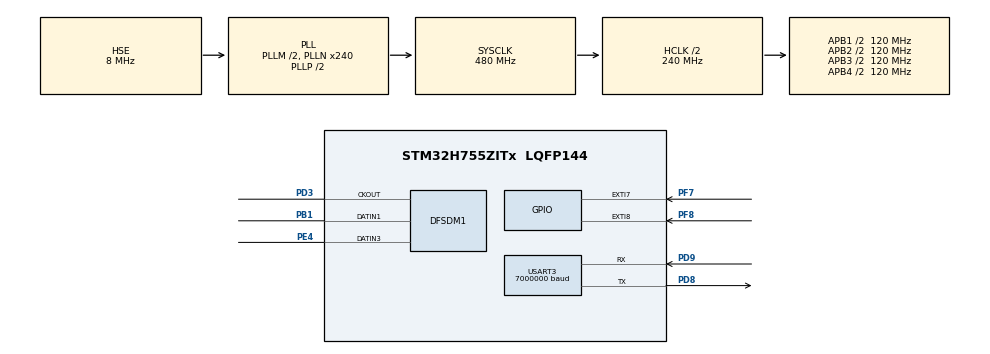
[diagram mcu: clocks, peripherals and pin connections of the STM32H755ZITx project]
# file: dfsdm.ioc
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PH0-OSC_IN\ (PH0).PinAttribute=CortexM7
Dma.DFSDM1_FLT3.4.Instance=DMA1_Stream3
RCC.PLLFRACN=0
Dma.DFSDM1_FLT1.1.Direction=DMA_PERIPH_TO_MEMORY
Dma.DFSDM1_FLT0.0.MemDataAlignment=DMA_MDATAALIGN_WORD
RCC.SYSCLKSource=RCC_SYSCLKSOURCE_PLLCLK
Dma.USART3_TX.2.Priority=DMA_PRIORITY_VERY_HIGH
Dma.DFSDM1_FLT1.1.EventEnable=DISABLE
USART3.VirtualMode-Asynchronous=VM_ASYNC
USART3.BaudRate=7000000
Dma.DFSDM1_FLT3.4.RequestNumber=1
PF7.Signal=GPXTI7
Dma.USART3_TX.2.RequestNumber=1
Dma.DFSDM1_FLT0.0.EventEnable=DISABLE
Dma.DFSDM1_FLT1.1.SyncSignalID=NONE
PD8.Signal=USART3_TX
Dma.DFSDM1_FLT2.3.SyncRequestNumber=1
Dma.USART3_TX.2.Mode=DMA_NORMAL
DFSDM1.Iosr_FIL0=2
DFSDM1.Iosr_FIL1=2
Dma.DFSDM1_FLT2.3.Direction=DMA_PERIPH_TO_MEMORY
DFSDM1.Iosr_FIL2=2
DFSDM1.Iosr_FIL3=2
Dma.DFSDM1_FLT3.4.SyncSignalID=NONE
RCC.DIVM2=5
RCC.DIVM1=2
ARM.CMSIS.5.8.0_M4.CMSISJjCORE=true
Dma.DFSDM1_FLT0.0.Instance=DMA1_Stream0
NVIC1.DMA1_Stream3_IRQn=true\:0\:0\:false\:false\:true\:false\:true
RCC.SAI1CLockSelection=RCC_SAI1CLKSOURCE_PLL2
Dma.DFSDM1_FLT0.0.SyncSignalID=NONE
PD8.PinAttribute=CortexM7
VP_SYS_M4_VS_Systick.Mode=SysTick
Dma.DFSDM1_FLT3.4.MemInc=DMA_MINC_ENABLE
Dma.DFSDM1_FLT1.1.SyncEnable=DISABLE
DFSDM1.Fosr_FIL0=64
DFSDM1.Fosr_FIL1=64
DFSDM1.Fosr_FIL2=64
DFSDM1.Fosr_FIL3=64
Dma.USART3_TX.2.SignalID=NONE
Mcu.Package=LQFP144
PB1.Signal=S_DATAIN1DFSDM1
VP_ARM.CMSIS_M4_VS_CMSISJjDSP_1.9.0-dev_5.8.0.Mode=CMSISJjDSP
Dma.USART3_TX.2.SyncEnable=DISABLE
RCC.PLL3FRACN=0
VP_ARM.CMSIS_M7_VS_CMSISJjDSP_1.9.0-dev_5.8.0.Mode=CMSISJjDSP
Dma.DFSDM1_FLT1.1.MemDataAlignment=DMA_MDATAALIGN_WORD
NVIC1.DFSDM1_FLT1_IRQn=true\:0\:0\:false\:false\:true\:true\:true
Dma.DFSDM1_FLT1.1.PeriphDataAlignment=DMA_PDATAALIGN_WORD
Dma.USART3_TX.2.SyncSignalID=NONE
Dma.DFSDM1_FLT0.0.FIFOMode=DMA_FIFOMODE_DISABLE
RCC.APB4Freq_Value=120000000
Dma.DFSDM1_FLT3.4.SyncEnable=DISABLE
PD3.GPIO_PuPd=GPIO_PULLDOWN
Dma.DFSDM1_FLT3.4.SyncRequestNumber=1
Dma.DFSDM1_FLT1.1.RequestNumber=1
PH0-OSC_IN\ (PH0).Mode=HSE-External-Clock-Source
RCC.SupplySource=PWR_DIRECT_SMPS_SUPPLY
VP_ARM.CMSIS_M7_VS_CMSISJjCORE_5.5.0_5.8.0.Mode=CMSISJjCORE
RCC.DIVQ1=4
Dma.DFSDM1_FLT3.4.EventEnable=DISABLE
Dma.DFSDM1_FLT3.4.Polarity=HAL_DMAMUX_REQ_GEN_RISING
Dma.DFSDM1_FLT0.0.SyncPolarity=HAL_DMAMUX_SYNC_NO_EVENT
PD3.Signal=S_CKOUTDFSDM1
Dma.DFSDM1_FLT0.0.Priority=DMA_PRIORITY_HIGH
RCC.DIVP2=5
Dma.DFSDM1_FLT1.1.MemInc=DMA_MINC_ENABLE
Dma.DFSDM1_FLT2.3.FIFOMode=DMA_FIFOMODE_DISABLE
Dma.DFSDM1_FLT2.3.Mode=DMA_CIRCULAR
RCC.PWR_Regulator_Voltage_Scale=PWR_REGULATOR_VOLTAGE_SCALE0
NVIC1.DFSDM1_FLT2_IRQn=true\:0\:0\:false\:false\:true\:true\:true
Dma.DFSDM1_FLT1.1.PeriphInc=DMA_PINC_DISABLE
Dma.DFSDM1_FLT0.0.SyncEnable=DISABLE
Dma.DFSDM1_FLT2.3.SyncPolarity=HAL_DMAMUX_SYNC_NO_EVENT
Dma.USART3_TX.2.PeriphInc=DMA_PINC_DISABLE
Dma.DFSDM1_FLT3.4.SyncPolarity=HAL_DMAMUX_SYNC_NO_EVENT
NVIC2.EXTI9_5_IRQn=true\:1\:0\:true\:false\:true\:true\:true
RCC.DIVN2=192
RCC.DIVN1=240
PD8.Mode=Asynchronous
Dma.USART3_TX.2.SyncRequestNumber=1
Dma.DFSDM1_FLT0.0.SignalID=NONE
Dma.DFSDM1_FLT2.3.PeriphInc=DMA_PINC_DISABLE
PB1.PinAttribute=CortexM7
Dma.DFSDM1_FLT2.3.SyncSignalID=NONE
DFSDM1.Offset_CH3=500
DFSDM1.Offset_CH2=600
NVIC1.DMA2_Stream0_IRQn=true\:0\:0\:false\:false\:true\:false\:true
Dma.DFSDM1_FLT3.4.Priority=DMA_PRIORITY_HIGH
DFSDM1.Offset_CH1=660
DFSDM1.Offset_CH0=650
Dma.DFSDM1_FLT3.4.PeriphInc=DMA_PINC_DISABLE
Dma.DFSDM1_FLT2.3.EventEnable=DISABLE
Dma.DFSDM1_FLT3.4.SignalID=NONE
PE4.GPIO_PuPd=GPIO_PULLDOWN
PF7.GPIO_PuPd=GPIO_PULLDOWN
DFSDM1.DmaMode_reg_FIL3=ENABLE
Dma.USART3_TX.2.FIFOMode=DMA_FIFOMODE_DISABLE
ProjectManager.HeapSize=0x200
PD9.PinAttribute=CortexM7
Dma.DFSDM1_FLT3.4.Mode=DMA_CIRCULAR
NVIC1.DMA1_Stream0_IRQn=true\:0\:0\:false\:false\:true\:false\:true
DFSDM1.DmaMode_reg_FIL1=ENABLE
DFSDM1.DmaMode_reg_FIL2=ENABLE
Dma.USART3_TX.2.Instance=DMA2_Stream0
DFSDM1.DmaMode_reg_FIL0=ENABLE
DFSDM1.Divider=20
Dma.DFSDM1_FLT0.0.Polarity=HAL_DMAMUX_REQ_GEN_RISING
Mcu.Family=STM32H7
Dma.USART3_TX.2.SyncPolarity=HAL_DMAMUX_SYNC_NO_EVENT
Dma.DFSDM1_FLT2.3.RequestNumber=1
RCC.CortexFreq_Value=480000000
Dma.DFSDM1_FLT2.3.MemDataAlignment=DMA_MDATAALIGN_WORD
RCC.HPRE=RCC_HCLK_DIV2
PH0-OSC_IN\ (PH0).Signal=RCC_OSC_IN
Dma.DFSDM1_FLT1.1.Mode=DMA_CIRCULAR
Dma.DFSDM1_FLT0.0.RequestNumber=1
RCC.PLL2FRACN=0
Dma.DFSDM1_FLT0.0.Mode=DMA_CIRCULAR
Dma.DFSDM1_FLT1.1.Instance=DMA1_Stream1
PD9.Mode=Asynchronous
PE4.PinAttribute=CortexM7
ProjectManager.StackSize=0x400
Dma.DFSDM1_FLT2.3.MemInc=DMA_MINC_ENABLE
Dma.USART3_TX.2.EventEnable=DISABLE
DFSDM1.Selection=DFSDM_CHANNEL_OUTPUT_CLOCK_AUDIO
Dma.DFSDM1_FLT1.1.FIFOMode=DMA_FIFOMODE_DISABLE
PB1.GPIO_PuPd=GPIO_PULLDOWN
RCC.HCLKFreq_Value=240000000
Dma.DFSDM1_FLT3.4.PeriphDataAlignment=DMA_PDATAALIGN_WORD
ARM.CMSIS.5.8.0_M7.CMSISJjDSP=Source
NVIC1.DFSDM1_FLT3_IRQn=true\:0\:0\:false\:false\:true\:true\:true
RCC.HSE_VALUE=8000000
Dma.DFSDM1_FLT0.0.Direction=DMA_PERIPH_TO_MEMORY
DFSDM1.FastMode_reg_FIL2=ENABLE
DFSDM1.FastMode_reg_FIL1=ENABLE
DFSDM1.FastMode_reg_FIL3=ENABLE
DFSDM1.FastMode_reg_FIL0=ENABLE
NVIC2.PriorityGroup=NVIC_PRIORITYGROUP_4
PF7.GPIO_ModeDefaultEXTI=GPIO_MODE_IT_RISING
PF8.GPIO_PuPd=GPIO_PULLDOWN
ARM.CMSIS.5.8.0_M4.CMSISJjDSP=Source
DFSDM1.RightBitShift_CH2=4
DFSDM1.RightBitShift_CH3=4
Dma.USART3_TX.2.Polarity=HAL_DMAMUX_REQ_GEN_RISING
CortexM7.IPs=FATFS_M7\:I,FREERTOS_M7\:I,IWDG1\:I,RCC\:I,WWDG1\:I,DMA\:I,BDMA\:I,MDMA\:I,NVIC1\:I,USB_OTG_FS\:I,SYS\:I,CORTEX_M7\:I,DEBUG\:I,USB_DEVICE_M7\:I,USB_HOST_M7\:I,PDM2PCM_M7\:I,PWR\:I,RESMGR_UTILITY\:I,OPENAMP_M7\:I,VREFBUF\:I,ARM.CMSIS.5.8.0_M7\:I,DFSDM1\:I,USART3\:I
DFSDM1.RightBitShift_CH0=4
Dma.DFSDM1_FLT2.3.Instance=DMA1_Stream2
DFSDM1.RightBitShift_CH1=4
PF7.PinAttribute=Free
PE4.Signal=S_DATAIN3DFSDM1
PF8.PinAttribute=Free
NVIC1.DMA1_Stream2_IRQn=true\:0\:0\:false\:false\:true\:false\:true
RCC.APB3Freq_Value=120000000
RCC.D1PPRE=RCC_APB3_DIV2
PD3.PinAttribute=CortexM7
PF8.Signal=GPXTI8
Dma.DFSDM1_FLT2.3.PeriphDataAlignment=DMA_PDATAALIGN_WORD
Dma.DFSDM1_FLT3.4.Direction=DMA_PERIPH_TO_MEMORY
Dma.Request2=USART3_TX
Dma.Request1=DFSDM1_FLT1
Dma.Request4=DFSDM1_FLT3
Dma.Request3=DFSDM1_FLT2
Dma.DFSDM1_FLT3.4.MemDataAlignment=DMA_MDATAALIGN_WORD
SH.S_DATAIN1DFSDM1.1=DFSDM1_DATIN1,PDM_SPI_input_from_ch1_and_internal_clock
Dma.Request0=DFSDM1_FLT0
SH.S_DATAIN1DFSDM1.0=DFSDM1_DATIN1,PDM_SPI_Input_from_ch01_and_Internal_Clock
DFSDM1.SincOrder_FIL2=DFSDM_FILTER_SINC3_ORDER
DFSDM1.SincOrder_FIL3=DFSDM_FILTER_SINC3_ORDER
DFSDM1.SincOrder_FIL0=DFSDM_FILTER_SINC3_ORDER
DFSDM1.SincOrder_FIL1=DFSDM_FILTER_SINC3_ORDER
Dma.DFSDM1_FLT0.0.SyncRequestNumber=1
RCC.PLLSourceVirtual=RCC_PLLSOURCE_HSE
Dma.DFSDM1_FLT2.3.Priority=DMA_PRIORITY_HIGH
CORTEX_M7.CPU_ICache=Enabled
Dma.DFSDM1_FLT1.1.SyncPolarity=HAL_DMAMUX_SYNC_NO_EVENT
Dma.USART3_TX.2.PeriphDataAlignment=DMA_PDATAALIGN_BYTE
Dma.DFSDM1_FLT0.0.PeriphInc=DMA_PINC_DISABLE
Dma.DFSDM1_FLT2.3.SignalID=NONE
Dma.USART3_TX.2.MemInc=DMA_MINC_ENABLE
Dma.DFSDM1_FLT0.0.MemInc=DMA_MINC_ENABLE
NVIC1.PriorityGroup=NVIC_PRIORITYGROUP_3
RCC.D2PPRE2=RCC_APB2_DIV2
RCC.D2PPRE1=RCC_APB1_DIV2
PD9.Signal=USART3_RX
NVIC1.DMA1_Stream1_IRQn=true\:0\:0\:false\:false\:true\:false\:true
Dma.DFSDM1_FLT0.0.PeriphDataAlignment=DMA_PDATAALIGN_WORD
ProjectManager.TargetToolchain=STM32CubeIDE
Dma.USART3_TX.2.Direction=DMA_MEMORY_TO_PERIPH
DFSDM1.Type_spi_CH0=DFSDM_CHANNEL_SPI_FALLING
DFSDM1.Type_spi_CH2=DFSDM_CHANNEL_SPI_RISING
DFSDM1.Type_spi_CH3=DFSDM_CHANNEL_SPI_FALLING
NVIC1.DFSDM1_FLT0_IRQn=true\:0\:0\:false\:false\:true\:true\:true
RCC.USBFreq_Value=240000000
Dma.DFSDM1_FLT1.1.Polarity=HAL_DMAMUX_REQ_GEN_RISING
Dma.DFSDM1_FLT1.1.SyncRequestNumber=1
VP_ARM.CMSIS_M4_VS_CMSISJjCORE_5.5.0_5.8.0.Mode=CMSISJjCORE
NVIC1.USART3_IRQn=true\:0\:0\:false\:false\:true\:true\:true
board=NUCLEO-H755ZI-Q
ARM.CMSIS.5.8.0_M7.CMSISJjCORE=true
Dma.USART3_TX.2.MemDataAlignment=DMA_MDATAALIGN_BYTE
Dma.DFSDM1_FLT2.3.SyncEnable=DISABLE
RCC.APB2Freq_Value=120000000
SH.S_CKOUTDFSDM1.0=DFSDM1_CKOUT,PDM_SPI_Input_from_ch01_and_Internal_Clock
SH.S_CKOUTDFSDM1.1=DFSDM1_CKOUT,PDM_SPI_input_from_ch1_and_internal_clock
Dma.DFSDM1_FLT2.3.Polarity=HAL_DMAMUX_REQ_GEN_RISING
RCC.ADCFreq_Value=61440000
SH.S_DATAIN3DFSDM1.0=DFSDM1_DATIN3,PDM_SPI_input_from_ch3_and_internal_clock
SH.S_DATAIN3DFSDM1.1=DFSDM1_DATIN3,PDM_SPI_Input_from_ch23_and_Internal_Clock
SH.S_CKOUTDFSDM1.2=DFSDM1_CKOUT,PDM_SPI_input_from_ch3_and_internal_clock
SH.S_CKOUTDFSDM1.3=DFSDM1_CKOUT,PDM_SPI_Input_from_ch23_and_Internal_Clock
Mcu.Name=STM32H755ZITx
PF8.GPIO_ModeDefaultEXTI=GPIO_MODE_IT_RISING
Dma.DFSDM1_FLT1.1.Priority=DMA_PRIORITY_HIGH
Dma.DFSDM1_FLT3.4.FIFOMode=DMA_FIFOMODE_DISABLE
RCC.SYSCLKFreq_VALUE=480000000
Dma.DFSDM1_FLT1.1.SignalID=NONE
NVIC2.CM7_SEV_IRQn=true\:0\:0\:false\:false\:true\:true\:false
DFSDM1.Filter_regChannel_FIL3=DFSDM_CHANNEL_3
DFSDM1.Filter_regChannel_FIL1=DFSDM_CHANNEL_1
DFSDM1.Filter_regChannel_FIL2=DFSDM_CHANNEL_2
RCC.D3PPRE=RCC_APB4_DIV2
CORTEX_M7.CPU_DCache=Enabled
DFSDM1.Filter_regChannel_FIL0=DFSDM_CHANNEL_0
RCC.APB1Freq_Value=120000000
CortexM4.IPs=FATFS_M4\:I,FREERTOS_M4\:I,IWDG2\:I,RCC,WWDG2\:I,DMA,BDMA,MDMA,NVIC2\:I,DEBUG,USB_DEVICE_M4\:I,USB_HOST_M4\:I,PDM2PCM_M4\:I,PWR,RESMGR_UTILITY,SYS_M4\:I,CORTEX_M4\:I,OPENAMP_M4\:I,VREFBUF,ARM.CMSIS.5.8.0_M4\:I

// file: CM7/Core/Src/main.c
/* USER CODE BEGIN Header */
/**
  ******************************************************************************
  * @file           : main.c
  * @brief          : Main program body
  ******************************************************************************
  * @attention
  *
  * <h2><center>&copy; Copyright (c) 2021 STMicroelectronics.
  * All rights reserved.</center></h2>
  *
  * This software component is licensed by ST under BSD 3-Clause license,
  * the "License"; You may not use this file except in compliance with the
  * License. You may obtain a copy of the License at:
  *                        opensource.org/licenses/BSD-3-Clause
  *
  ******************************************************************************
  */
/* USER CODE END Header */
#include "main.h"

/* USER CODE BEGIN PTD */

typedef struct{
	flag_t topLeftChannelFlag;
	flag_t topRightChannelFlag;
	flag_t bottomLeftChannelFlag;
	flag_t bottomRightChannelFlag;
}channel_flag_t;

/* USER CODE END PTD */

/* USER CODE BEGIN PD */

#ifndef HSEM_ID_0
#define HSEM_ID_0 (0U) /* HW semaphore 0*/
#endif

#define HSEM_ID_1 1U

/* USER CODE END PD */

DFSDM_Filter_HandleTypeDef hdfsdm1_filter0;
DFSDM_Filter_HandleTypeDef hdfsdm1_filter1;
DFSDM_Filter_HandleTypeDef hdfsdm1_filter2;
DFSDM_Filter_HandleTypeDef hdfsdm1_filter3;
DFSDM_Channel_HandleTypeDef hdfsdm1_channel0;
DFSDM_Channel_HandleTypeDef hdfsdm1_channel1;
DFSDM_Channel_HandleTypeDef hdfsdm1_channel2;
DFSDM_Channel_HandleTypeDef hdfsdm1_channel3;
DMA_HandleTypeDef hdma_dfsdm1_flt0;
DMA_HandleTypeDef hdma_dfsdm1_flt1;
DMA_HandleTypeDef hdma_dfsdm1_flt2;
DMA_HandleTypeDef hdma_dfsdm1_flt3;

UART_HandleTypeDef huart3;
DMA_HandleTypeDef hdma_usart3_tx;

/* USER CODE BEGIN PV */

static buffer_t * const pcmBuffer = (buffer_t *) 0x30020000;
static volatile channel_flag_t channelFlag;

//static float coeff_fir[FIR_TAPS] = {-0.000000,-0.000000,0.000111,0.000396,0.000912,0.001710,0.002831,0.004307,0.006154,0.008378,0.010968,0.013901,0.017138,0.020629,0.024313,0.028118,0.031966,0.035773,0.039456,0.042929,0.046112,0.048931,0.051319,0.053222,0.054596,0.055413,0.054596,0.053222,0.051319,0.048931,0.046112,0.042929,0.039456,0.035773,0.031966,0.028118,0.024313,0.020629,0.017138,0.013901,0.010968,0.008378,0.006154,0.004307,0.002831,0.001710,0.000912,0.000396,0.000111,-0.000000,-0.000000};
static float coeff_iir[IIR_TAPS] = {0.014764, 0.000000, -0.014764, 1.895962, -0.994284, 0.025741, 0.000000, -0.025741, 1.952879, -0.996178, 0.047707, 0.000000, -0.047707, 1.885551, -0.983015, 0.026840, 0.000000, -0.026840, 1.945317, -0.988588, 0.051229, 0.000000, -0.051229, 1.875737, -0.972066, 0.032454, 0.000000, -0.032454, 1.937704, -0.981083, 0.052886, 0.000000, -0.052886, 1.866618, -0.961552, 0.039704, 0.000000, -0.039704, 1.930058, -0.973681, 0.053823, 0.000000, -0.053823, 1.858280, -0.951580, 0.047111, 0.000000, -0.047111, 1.922398, -0.966403, 0.056357, 0.000000, -0.056357, 1.850795, -0.942245, 0.049099, 0.000000, -0.049099, 1.914744, -0.959271, 0.056850, 0.000000, -0.056850, 1.844223, -0.933633, 0.055693, 0.000000, -0.055693, 1.907120, -0.952311, 0.058761, 0.000000, -0.058761, 1.838613, -0.925818, 0.059948, 0.000000, -0.059948, 1.899552, -0.945550, 0.058982, 0.000000, -0.058982, 1.833997, -0.918860, 0.061226, 0.000000, -0.061226, 1.892072, -0.939022, 0.060501, 0.000000, -0.060501, 1.830397, -0.912808, 0.064785, 0.000000, -0.064785, 1.884714, -0.932765, 0.062169, 0.000000, -0.062169, 1.827819, -0.907699, 0.065635, 0.000000, -0.065635, 1.877520, -0.926821, 0.062438, 0.000000, -0.062438, 1.826257, -0.903553, 0.067847, 0.000000, -0.067847, 1.870536, -0.921240, 0.061495, 0.000000, -0.061495, 1.825692, -0.900381, 0.067104, 0.000000, -0.067104, 1.863816, -0.916073, 0.063508, 0.000000, -0.063508, 1.826094, -0.898178, 0.065190, 0.000000, -0.065190, 1.857417, -0.911377, 0.060436, 0.000000, -0.060436, 1.827421, -0.896927, 0.058881, 0.000000, -0.058881, 1.851405, -0.907215, 0.055711, 0.000000, -0.055711, 1.829619, -0.896602, 0.056287, 0.000000, -0.056287, 1.845847, -0.903649, 0.055548, 0.000000, -0.055548, 1.832630, -0.897162, 0.055002, 0.000000, -0.055002, 1.840816, -0.900744, 0.047617, 0.000000, -0.047617, 1.836386, -0.898561};

static dsp_buffer_iir_t dsp_iir[CHANNEL_NUMBER];

/* USER CODE END PV */

void SystemClock_Config(void);
static void MX_GPIO_Init(void);
static void MX_DMA_Init(void);
static void MX_DFSDM1_Init(void);
static void MX_USART3_UART_Init(void);

int main(void)
{
/* USER CODE BEGIN Boot_Mode_Sequence_0 */
/* USER CODE END Boot_Mode_Sequence_0 */

  /* Enable I-Cache---------------------------------------------------------*/
  SCB_EnableICache();

  /* Enable D-Cache---------------------------------------------------------*/
  SCB_EnableDCache();

/* USER CODE BEGIN Boot_Mode_Sequence_1 */
  /* Wait until CPU2 boots and enters in stop mode or timeout*/
/* USER CODE END Boot_Mode_Sequence_1 */
  /* MCU Configuration--------------------------------------------------------*/

  /* Reset of all peripherals, Initializes the Flash interface and the Systick. */
  HAL_Init();

  /* Configure the system clock */
  SystemClock_Config();
/* USER CODE BEGIN Boot_Mode_Sequence_2 */
/* When system initialization is finished, Cortex-M7 will release Cortex-M4 by means of
HSEM notification */
/*HW semaphore Clock enable*/
__HAL_RCC_HSEM_CLK_ENABLE();
/*Take HSEM */
HAL_HSEM_FastTake(HSEM_ID_0);
/*Release HSEM in order to notify the CPU2(CM4)*/
HAL_HSEM_Release(HSEM_ID_0,0);
/* wait until CPU2 wakes up from stop mode */
/* USER CODE END Boot_Mode_Sequence_2 */

  /* Initialize all configured peripherals */
  MX_GPIO_Init();
  MX_DMA_Init();
  MX_DFSDM1_Init();
  MX_USART3_UART_Init();
  /* USER CODE BEGIN 2 */

  CoreDebug->DEMCR |= CoreDebug_DEMCR_TRCENA_Msk;
  DWT->LAR = 0xC5ACCE55;
  DWT->CYCCNT = 0;
  DWT->CTRL |= DWT_CTRL_CYCCNTENA_Msk;

  IIR_Filter_Init(&dsp_iir[0], &coeff_iir[0]);

  HAL_DFSDM_FilterRegularStart_DMA(&hdfsdm1_filter3, &pcmBuffer->topRightChannel[0],    2*PCM_CHUNK_SIZE);
  HAL_DFSDM_FilterRegularStart_DMA(&hdfsdm1_filter2, &pcmBuffer->topLeftChannel[0], 	2*PCM_CHUNK_SIZE);
  HAL_DFSDM_FilterRegularStart_DMA(&hdfsdm1_filter1, &pcmBuffer->bottomRightChannel[0], 2*PCM_CHUNK_SIZE);
  HAL_DFSDM_FilterRegularStart_DMA(&hdfsdm1_filter0, &pcmBuffer->bottomLeftChannel[0],  2*PCM_CHUNK_SIZE);

  /* USER CODE END 2 */

  /* Infinite loop */
  /* USER CODE BEGIN WHILE */
  while(1){

	  if(channelFlag.bottomLeftChannelFlag == HALF && channelFlag.bottomRightChannelFlag == HALF && channelFlag.topLeftChannelFlag == HALF && channelFlag.topRightChannelFlag == HALF){
		  DWT->CYCCNT = 0;
		  channelFlag.topLeftChannelFlag	 = NONE;
		  channelFlag.topRightChannelFlag	 = NONE;
		  channelFlag.bottomLeftChannelFlag  = NONE;
		  channelFlag.bottomRightChannelFlag = NONE;

		  for(uint32_t i = 0; i < PCM_CHUNK_SIZE; i++){
			  pcmBuffer->pcmBuffer_q15[0][i] = (int16_t)(pcmBuffer->bottomLeftChannel [i] >> 8);
			  pcmBuffer->pcmBuffer_q15[1][i] = (int16_t)(pcmBuffer->bottomRightChannel[i] >> 8);
			  pcmBuffer->pcmBuffer_q15[2][i] = (int16_t)(pcmBuffer->topLeftChannel	  [i] >> 8);
			  pcmBuffer->pcmBuffer_q15[3][i] = (int16_t)(pcmBuffer->topRightChannel	  [i] >> 8);
		  }

		  arm_q15_to_float(&pcmBuffer->pcmBuffer_q15[0][0], &pcmBuffer->pcmBuffer_flt[0][0], PCM_CHUNK_SIZE);
		  arm_q15_to_float(&pcmBuffer->pcmBuffer_q15[1][0], &pcmBuffer->pcmBuffer_flt[1][0], PCM_CHUNK_SIZE);
		  arm_q15_to_float(&pcmBuffer->pcmBuffer_q15[2][0], &pcmBuffer->pcmBuffer_flt[2][0], PCM_CHUNK_SIZE);
		  arm_q15_to_float(&pcmBuffer->pcmBuffer_q15[3][0], &pcmBuffer->pcmBuffer_flt[3][0], PCM_CHUNK_SIZE);

		  arm_float_to_q15(&pcmBuffer->pcmBuffer_flt[0][0], &pcmBuffer->pcmBuffer_q15[0][0], PCM_CHUNK_SIZE);
		  arm_float_to_q15(&pcmBuffer->pcmBuffer_flt[1][0], &pcmBuffer->pcmBuffer_q15[1][0], PCM_CHUNK_SIZE);
		  arm_float_to_q15(&pcmBuffer->pcmBuffer_flt[2][0], &pcmBuffer->pcmBuffer_q15[2][0], PCM_CHUNK_SIZE);
		  arm_float_to_q15(&pcmBuffer->pcmBuffer_flt[3][0], &pcmBuffer->pcmBuffer_q15[3][0], PCM_CHUNK_SIZE);

		  Clean((uint32_t*)&pcmBuffer->pcmBuffer_q15[0][0], 2*CHANNEL_NUMBER*PCM_CHUNK_SIZE);

		  HAL_UART_Transmit_DMA(&huart3, (uint8_t*)&pcmBuffer->pcmBuffer_q15[0][0], 2*CHANNEL_NUMBER*PCM_CHUNK_SIZE);

		  HAL_EXTI_GenerateSWInterrupt(EXTI_LINE7);
	  }

	  if(channelFlag.bottomLeftChannelFlag == FULL && channelFlag.bottomRightChannelFlag == FULL && channelFlag.topLeftChannelFlag == FULL && channelFlag.topRightChannelFlag == FULL){
		  DWT->CYCCNT = 0;
		  channelFlag.topLeftChannelFlag		= NONE;
		  channelFlag.topRightChannelFlag       = NONE;
		  channelFlag.bottomLeftChannelFlag 	= NONE;
		  channelFlag.bottomRightChannelFlag 	= NONE;

		  for(uint32_t i = 0; i < PCM_CHUNK_SIZE; i++){
			  pcmBuffer->pcmBuffer_q15[CHANNEL_NUMBER]    [i] = (int16_t)(pcmBuffer->bottomLeftChannel[PCM_CHUNK_SIZE  + i] >> 8);
			  pcmBuffer->pcmBuffer_q15[CHANNEL_NUMBER + 1][i] = (int16_t)(pcmBuffer->bottomRightChannel[PCM_CHUNK_SIZE + i] >> 8);
			  pcmBuffer->pcmBuffer_q15[CHANNEL_NUMBER + 2][i] = (int16_t)(pcmBuffer->topLeftChannel[PCM_CHUNK_SIZE     + i] >> 8);
			  pcmBuffer->pcmBuffer_q15[CHANNEL_NUMBER + 3][i] = (int16_t)(pcmBuffer->topRightChannel[PCM_CHUNK_SIZE    + i] >> 8);
		  }

		  arm_q15_to_float(&pcmBuffer->pcmBuffer_q15[CHANNEL_NUMBER]    [0], &pcmBuffer->pcmBuffer_flt[0][0], PCM_CHUNK_SIZE);
		  arm_q15_to_float(&pcmBuffer->pcmBuffer_q15[CHANNEL_NUMBER + 1][0], &pcmBuffer->pcmBuffer_flt[1][0], PCM_CHUNK_SIZE);
		  arm_q15_to_float(&pcmBuffer->pcmBuffer_q15[CHANNEL_NUMBER + 2][0], &pcmBuffer->pcmBuffer_flt[2][0], PCM_CHUNK_SIZE);
		  arm_q15_to_float(&pcmBuffer->pcmBuffer_q15[CHANNEL_NUMBER + 3][0], &pcmBuffer->pcmBuffer_flt[3][0], PCM_CHUNK_SIZE);

		  IIR_Filter(&dsp_iir[0], (float(*)[PCM_CHUNK_SIZE])&pcmBuffer->pcmBuffer_flt[0][0], (float(*)[PCM_CHUNK_SIZE])&pcmBuffer->pcmBuffer_flt[0][0]);

		  arm_float_to_q15(&pcmBuffer->pcmBuffer_flt[0][0], &pcmBuffer->pcmBuffer_q15[CHANNEL_NUMBER]    [0], PCM_CHUNK_SIZE);
		  arm_float_to_q15(&pcmBuffer->pcmBuffer_flt[1][0], &pcmBuffer->pcmBuffer_q15[CHANNEL_NUMBER + 1][0], PCM_CHUNK_SIZE);
		  arm_float_to_q15(&pcmBuffer->pcmBuffer_flt[2][0], &pcmBuffer->pcmBuffer_q15[CHANNEL_NUMBER + 2][0], PCM_CHUNK_SIZE);
		  arm_float_to_q15(&pcmBuffer->pcmBuffer_flt[3][0], &pcmBuffer->pcmBuffer_q15[CHANNEL_NUMBER + 3][0], PCM_CHUNK_SIZE);

		  Clean((uint32_t*)&pcmBuffer->pcmBuffer_q15[CHANNEL_NUMBER][0], 2*CHANNEL_NUMBER*PCM_CHUNK_SIZE);

		  HAL_UART_Transmit_DMA(&huart3, (uint8_t*)&pcmBuffer->pcmBuffer_q15[CHANNEL_NUMBER][0], 2*CHANNEL_NUMBER*PCM_CHUNK_SIZE);

		  HAL_EXTI_GenerateSWInterrupt(EXTI_LINE8);
	  }

    /* USER CODE END WHILE */

  }
}

void SystemClock_Config(void)
{
  RCC_OscInitTypeDef RCC_OscInitStruct = {0};
  RCC_ClkInitTypeDef RCC_ClkInitStruct = {0};

  /** Supply configuration update enable
  */
  HAL_PWREx_ConfigSupply(PWR_DIRECT_SMPS_SUPPLY);
  /** Configure the main internal regulator output voltage
  */
  __HAL_PWR_VOLTAGESCALING_CONFIG(PWR_REGULATOR_VOLTAGE_SCALE0);

  while(!__HAL_PWR_GET_FLAG(PWR_FLAG_VOSRDY)) {}
  /** Macro to configure the PLL clock source
  */
  __HAL_RCC_PLL_PLLSOURCE_CONFIG(RCC_PLLSOURCE_HSE);
  /** Initializes the RCC Oscillators according to the specified parameters
  * in the RCC_OscInitTypeDef structure.
  */
  RCC_OscInitStruct.OscillatorType = RCC_OSCILLATORTYPE_HSE;
  RCC_OscInitStruct.HSEState = RCC_HSE_BYPASS;
  RCC_OscInitStruct.PLL.PLLState = RCC_PLL_ON;
  RCC_OscInitStruct.PLL.PLLSource = RCC_PLLSOURCE_HSE;
  RCC_OscInitStruct.PLL.PLLM = 2;
  RCC_OscInitStruct.PLL.PLLN = 240;
  RCC_OscInitStruct.PLL.PLLP = 2;
  RCC_OscInitStruct.PLL.PLLQ = 4;
  RCC_OscInitStruct.PLL.PLLR = 2;
  RCC_OscInitStruct.PLL.PLLRGE = RCC_PLL1VCIRANGE_2;
  RCC_OscInitStruct.PLL.PLLVCOSEL = RCC_PLL1VCOWIDE;
  RCC_OscInitStruct.PLL.PLLFRACN = 0;
  if (HAL_RCC_OscConfig(&RCC_OscInitStruct) != HAL_OK)
  {
    Error_Handler();
  }
  /** Initializes the CPU, AHB and APB buses clocks
  */
  RCC_ClkInitStruct.ClockType = RCC_CLOCKTYPE_HCLK|RCC_CLOCKTYPE_SYSCLK
                              |RCC_CLOCKTYPE_PCLK1|RCC_CLOCKTYPE_PCLK2
                              |RCC_CLOCKTYPE_D3PCLK1|RCC_CLOCKTYPE_D1PCLK1;
  RCC_ClkInitStruct.SYSCLKSource = RCC_SYSCLKSOURCE_PLLCLK;
  RCC_ClkInitStruct.SYSCLKDivider = RCC_SYSCLK_DIV1;
  RCC_ClkInitStruct.AHBCLKDivider = RCC_HCLK_DIV2;
  RCC_ClkInitStruct.APB3CLKDivider = RCC_APB3_DIV2;
  RCC_ClkInitStruct.APB1CLKDivider = RCC_APB1_DIV2;
  RCC_ClkInitStruct.APB2CLKDivider = RCC_APB2_DIV2;
  RCC_ClkInitStruct.APB4CLKDivider = RCC_APB4_DIV2;

  if (HAL_RCC_ClockConfig(&RCC_ClkInitStruct, FLASH_LATENCY_4) != HAL_OK)
  {
    Error_Handler();
  }
}

static void MX_DFSDM1_Init(void)
{

  hdfsdm1_filter0.Instance = DFSDM1_Filter0;
  hdfsdm1_filter0.Init.RegularParam.Trigger = DFSDM_FILTER_SW_TRIGGER;
  hdfsdm1_filter0.Init.RegularParam.FastMode = ENABLE;
  hdfsdm1_filter0.Init.RegularParam.DmaMode = ENABLE;
  hdfsdm1_filter0.Init.FilterParam.SincOrder = DFSDM_FILTER_SINC3_ORDER;
  hdfsdm1_filter0.Init.FilterParam.Oversampling = 64;
  hdfsdm1_filter0.Init.FilterParam.IntOversampling = 2;
  if (HAL_DFSDM_FilterInit(&hdfsdm1_filter0) != HAL_OK)
  {
    Error_Handler();
  }
  hdfsdm1_filter1.Instance = DFSDM1_Filter1;
  hdfsdm1_filter1.Init.RegularParam.Trigger = DFSDM_FILTER_SW_TRIGGER;
  hdfsdm1_filter1.Init.RegularParam.FastMode = ENABLE;
  hdfsdm1_filter1.Init.RegularParam.DmaMode = ENABLE;
  hdfsdm1_filter1.Init.FilterParam.SincOrder = DFSDM_FILTER_SINC3_ORDER;
  hdfsdm1_filter1.Init.FilterParam.Oversampling = 64;
  hdfsdm1_filter1.Init.FilterParam.IntOversampling = 2;
  if (HAL_DFSDM_FilterInit(&hdfsdm1_filter1) != HAL_OK)
  {
    Error_Handler();
  }
  hdfsdm1_filter2.Instance = DFSDM1_Filter2;
  hdfsdm1_filter2.Init.RegularParam.Trigger = DFSDM_FILTER_SW_TRIGGER;
  hdfsdm1_filter2.Init.RegularParam.FastMode = ENABLE;
  hdfsdm1_filter2.Init.RegularParam.DmaMode = ENABLE;
  hdfsdm1_filter2.Init.FilterParam.SincOrder = DFSDM_FILTER_SINC3_ORDER;
  hdfsdm1_filter2.Init.FilterParam.Oversampling = 64;
  hdfsdm1_filter2.Init.FilterParam.IntOversampling = 2;
  if (HAL_DFSDM_FilterInit(&hdfsdm1_filter2) != HAL_OK)
  {
    Error_Handler();
  }
  hdfsdm1_filter3.Instance = DFSDM1_Filter3;
  hdfsdm1_filter3.Init.RegularParam.Trigger = DFSDM_FILTER_SW_TRIGGER;
  hdfsdm1_filter3.Init.RegularParam.FastMode = ENABLE;
  hdfsdm1_filter3.Init.RegularParam.DmaMode = ENABLE;
  hdfsdm1_filter3.Init.FilterParam.SincOrder = DFSDM_FILTER_SINC3_ORDER;
  hdfsdm1_filter3.Init.FilterParam.Oversampling = 64;
  hdfsdm1_filter3.Init.FilterParam.IntOversampling = 2;
  if (HAL_DFSDM_FilterInit(&hdfsdm1_filter3) != HAL_OK)
  {
    Error_Handler();
  }
  hdfsdm1_channel0.Instance = DFSDM1_Channel0;
  hdfsdm1_channel0.Init.OutputClock.Activation = ENABLE;
  hdfsdm1_channel0.Init.OutputClock.Selection = DFSDM_CHANNEL_OUTPUT_CLOCK_AUDIO;
  hdfsdm1_channel0.Init.OutputClock.Divider = 20;
  hdfsdm1_channel0.Init.Input.Multiplexer = DFSDM_CHANNEL_EXTERNAL_INPUTS;
  hdfsdm1_channel0.Init.Input.DataPacking = DFSDM_CHANNEL_STANDARD_MODE;
  hdfsdm1_channel0.Init.Input.Pins = DFSDM_CHANNEL_FOLLOWING_CHANNEL_PINS;
  hdfsdm1_channel0.Init.SerialInterface.Type = DFSDM_CHANNEL_SPI_FALLING;
  hdfsdm1_channel0.Init.SerialInterface.SpiClock = DFSDM_CHANNEL_SPI_CLOCK_INTERNAL;
  hdfsdm1_channel0.Init.Awd.FilterOrder = DFSDM_CHANNEL_FASTSINC_ORDER;
  hdfsdm1_channel0.Init.Awd.Oversampling = 1;
  hdfsdm1_channel0.Init.Offset = 650;
  hdfsdm1_channel0.Init.RightBitShift = 4;
  if (HAL_DFSDM_ChannelInit(&hdfsdm1_channel0) != HAL_OK)
  {
    Error_Handler();
  }
  hdfsdm1_channel1.Instance = DFSDM1_Channel1;
  hdfsdm1_channel1.Init.OutputClock.Activation = ENABLE;
  hdfsdm1_channel1.Init.OutputClock.Selection = DFSDM_CHANNEL_OUTPUT_CLOCK_AUDIO;
  hdfsdm1_channel1.Init.OutputClock.Divider = 20;
  hdfsdm1_channel1.Init.Input.Multiplexer = DFSDM_CHANNEL_EXTERNAL_INPUTS;
  hdfsdm1_channel1.Init.Input.DataPacking = DFSDM_CHANNEL_STANDARD_MODE;
  hdfsdm1_channel1.Init.Input.Pins = DFSDM_CHANNEL_SAME_CHANNEL_PINS;
  hdfsdm1_channel1.Init.SerialInterface.Type = DFSDM_CHANNEL_SPI_RISING;
  hdfsdm1_channel1.Init.SerialInterface.SpiClock = DFSDM_CHANNEL_SPI_CLOCK_INTERNAL;
  hdfsdm1_channel1.Init.Awd.FilterOrder = DFSDM_CHANNEL_FASTSINC_ORDER;
  hdfsdm1_channel1.Init.Awd.Oversampling = 1;
  hdfsdm1_channel1.Init.Offset = 660;
  hdfsdm1_channel1.Init.RightBitShift = 4;
  if (HAL_DFSDM_ChannelInit(&hdfsdm1_channel1) != HAL_OK)
  {
    Error_Handler();
  }
  hdfsdm1_channel2.Instance = DFSDM1_Channel2;
  hdfsdm1_channel2.Init.OutputClock.Activation = ENABLE;
  hdfsdm1_channel2.Init.OutputClock.Selection = DFSDM_CHANNEL_OUTPUT_CLOCK_AUDIO;
  hdfsdm1_channel2.Init.OutputClock.Divider = 20;
  hdfsdm1_channel2.Init.Input.Multiplexer = DFSDM_CHANNEL_EXTERNAL_INPUTS;
  hdfsdm1_channel2.Init.Input.DataPacking = DFSDM_CHANNEL_STANDARD_MODE;
  hdfsdm1_channel2.Init.Input.Pins = DFSDM_CHANNEL_FOLLOWING_CHANNEL_PINS;
  hdfsdm1_channel2.Init.SerialInterface.Type = DFSDM_CHANNEL_SPI_RISING;
  hdfsdm1_channel2.Init.SerialInterface.SpiClock = DFSDM_CHANNEL_SPI_CLOCK_INTERNAL;
  hdfsdm1_channel2.Init.Awd.FilterOrder = DFSDM_CHANNEL_FASTSINC_ORDER;
  hdfsdm1_channel2.Init.Awd.Oversampling = 1;
  hdfsdm1_channel2.Init.Offset = 600;
  hdfsdm1_channel2.Init.RightBitShift = 4;
  if (HAL_DFSDM_ChannelInit(&hdfsdm1_channel2) != HAL_OK)
  {
    Error_Handler();
  }
  hdfsdm1_channel3.Instance = DFSDM1_Channel3;
  hdfsdm1_channel3.Init.OutputClock.Activation = ENABLE;
  hdfsdm1_channel3.Init.OutputClock.Selection = DFSDM_CHANNEL_OUTPUT_CLOCK_AUDIO;
  hdfsdm1_channel3.Init.OutputClock.Divider = 20;
  hdfsdm1_channel3.Init.Input.Multiplexer = DFSDM_CHANNEL_EXTERNAL_INPUTS;
  hdfsdm1_channel3.Init.Input.DataPacking = DFSDM_CHANNEL_STANDARD_MODE;
  hdfsdm1_channel3.Init.Input.Pins = DFSDM_CHANNEL_SAME_CHANNEL_PINS;
  hdfsdm1_channel3.Init.SerialInterface.Type = DFSDM_CHANNEL_SPI_FALLING;
  hdfsdm1_channel3.Init.SerialInterface.SpiClock = DFSDM_CHANNEL_SPI_CLOCK_INTERNAL;
  hdfsdm1_channel3.Init.Awd.FilterOrder = DFSDM_CHANNEL_FASTSINC_ORDER;
  hdfsdm1_channel3.Init.Awd.Oversampling = 1;
  hdfsdm1_channel3.Init.Offset = 500;
  hdfsdm1_channel3.Init.RightBitShift = 4;
  if (HAL_DFSDM_ChannelInit(&hdfsdm1_channel3) != HAL_OK)
  {
    Error_Handler();
  }
  if (HAL_DFSDM_FilterConfigRegChannel(&hdfsdm1_filter0, DFSDM_CHANNEL_0, DFSDM_CONTINUOUS_CONV_ON) != HAL_OK)
  {
    Error_Handler();
  }
  if (HAL_DFSDM_FilterConfigRegChannel(&hdfsdm1_filter1, DFSDM_CHANNEL_1, DFSDM_CONTINUOUS_CONV_ON) != HAL_OK)
  {
    Error_Handler();
  }
  if (HAL_DFSDM_FilterConfigRegChannel(&hdfsdm1_filter2, DFSDM_CHANNEL_2, DFSDM_CONTINUOUS_CONV_ON) != HAL_OK)
  {
    Error_Handler();
  }
  if (HAL_DFSDM_FilterConfigRegChannel(&hdfsdm1_filter3, DFSDM_CHANNEL_3, DFSDM_CONTINUOUS_CONV_ON) != HAL_OK)
  {
    Error_Handler();
  }

}

static void MX_USART3_UART_Init(void)
{

  huart3.Instance = USART3;
  huart3.Init.BaudRate = 7000000;
  huart3.Init.WordLength = UART_WORDLENGTH_8B;
  huart3.Init.StopBits = UART_STOPBITS_1;
  huart3.Init.Parity = UART_PARITY_NONE;
  huart3.Init.Mode = UART_MODE_TX_RX;
  huart3.Init.HwFlowCtl = UART_HWCONTROL_NONE;
  huart3.Init.OverSampling = UART_OVERSAMPLING_16;
  huart3.Init.OneBitSampling = UART_ONE_BIT_SAMPLE_DISABLE;
  huart3.Init.ClockPrescaler = UART_PRESCALER_DIV1;
  huart3.AdvancedInit.AdvFeatureInit = UART_ADVFEATURE_NO_INIT;
  if (HAL_UART_Init(&huart3) != HAL_OK)
  {
    Error_Handler();
  }
  if (HAL_UARTEx_SetTxFifoThreshold(&huart3, UART_TXFIFO_THRESHOLD_1_8) != HAL_OK)
  {
    Error_Handler();
  }
  if (HAL_UARTEx_SetRxFifoThreshold(&huart3, UART_RXFIFO_THRESHOLD_1_8) != HAL_OK)
  {
    Error_Handler();
  }
  if (HAL_UARTEx_DisableFifoMode(&huart3) != HAL_OK)
  {
    Error_Handler();
  }

}

static void MX_DMA_Init(void)
{

  /* DMA controller clock enable */
  __HAL_RCC_DMA1_CLK_ENABLE();
  __HAL_RCC_DMA2_CLK_ENABLE();

  /* DMA interrupt init */
  /* DMA1_Stream0_IRQn interrupt configuration */
  HAL_NVIC_SetPriority(DMA1_Stream0_IRQn, 0, 0);
  HAL_NVIC_EnableIRQ(DMA1_Stream0_IRQn);
  /* DMA1_Stream1_IRQn interrupt configuration */
  HAL_NVIC_SetPriority(DMA1_Stream1_IRQn, 0, 0);
  HAL_NVIC_EnableIRQ(DMA1_Stream1_IRQn);
  /* DMA1_Stream2_IRQn interrupt configuration */
  HAL_NVIC_SetPriority(DMA1_Stream2_IRQn, 0, 0);
  HAL_NVIC_EnableIRQ(DMA1_Stream2_IRQn);
  /* DMA1_Stream3_IRQn interrupt configuration */
  HAL_NVIC_SetPriority(DMA1_Stream3_IRQn, 0, 0);
  HAL_NVIC_EnableIRQ(DMA1_Stream3_IRQn);
  /* DMA2_Stream0_IRQn interrupt configuration */
  HAL_NVIC_SetPriority(DMA2_Stream0_IRQn, 0, 0);
  HAL_NVIC_EnableIRQ(DMA2_Stream0_IRQn);

}

static void MX_GPIO_Init(void)
{

  /* GPIO Ports Clock Enable */
  __HAL_RCC_GPIOE_CLK_ENABLE();
  __HAL_RCC_GPIOH_CLK_ENABLE();
  __HAL_RCC_GPIOB_CLK_ENABLE();
  __HAL_RCC_GPIOD_CLK_ENABLE();

}

/* USER CODE BEGIN 4 */

void HAL_DFSDM_FilterRegConvHalfCpltCallback(DFSDM_Filter_HandleTypeDef *hdfsdm_filter){

		 if(hdfsdm_filter == &hdfsdm1_filter3){
			channelFlag.topRightChannelFlag 	= HALF;
			SCB_InvalidateDCache_by_Addr((uint32_t*)&pcmBuffer->topRightChannel[0], 4*PCM_CHUNK_SIZE);

	}
	else if(hdfsdm_filter == &hdfsdm1_filter2){
			channelFlag.topLeftChannelFlag 	= HALF;
			SCB_InvalidateDCache_by_Addr((uint32_t*)&pcmBuffer->topLeftChannel[0], 4*PCM_CHUNK_SIZE);
	}
	else if(hdfsdm_filter == &hdfsdm1_filter1){
			channelFlag.bottomRightChannelFlag 	= HALF;
			SCB_InvalidateDCache_by_Addr((uint32_t*)&pcmBuffer->bottomRightChannel[0], 4*PCM_CHUNK_SIZE);
	}
	else{
			channelFlag.bottomLeftChannelFlag 	= HALF;
			SCB_InvalidateDCache_by_Addr((uint32_t*)&pcmBuffer->bottomLeftChannel[0], 4*PCM_CHUNK_SIZE);
	}

}

void HAL_DFSDM_FilterRegConvCpltCallback(DFSDM_Filter_HandleTypeDef *hdfsdm_filter){

		 if(hdfsdm_filter == &hdfsdm1_filter3){
			channelFlag.topRightChannelFlag = FULL;
			SCB_InvalidateDCache_by_Addr((uint32_t*)&pcmBuffer->topRightChannel[PCM_CHUNK_SIZE], 4*PCM_CHUNK_SIZE);
	}
	else if(hdfsdm_filter == &hdfsdm1_filter2){
			channelFlag.topLeftChannelFlag 	= FULL;
			SCB_InvalidateDCache_by_Addr((uint32_t*)&pcmBuffer->topLeftChannel[PCM_CHUNK_SIZE], 4*PCM_CHUNK_SIZE);

	}
	else if(hdfsdm_filter == &hdfsdm1_filter1){
			channelFlag.bottomRightChannelFlag 	= FULL;
			SCB_InvalidateDCache_by_Addr((uint32_t*)&pcmBuffer->bottomRightChannel[PCM_CHUNK_SIZE], 4*PCM_CHUNK_SIZE);
	}
	else{
			channelFlag.bottomLeftChannelFlag 	= FULL;
			SCB_InvalidateDCache_by_Addr((uint32_t*)&pcmBuffer->bottomLeftChannel[PCM_CHUNK_SIZE], 4*PCM_CHUNK_SIZE);
	}

}
/* USER CODE END 4 */

void Error_Handler(void)
{
  __disable_irq();
  while (1)
  {
  }
}

/************************ (C) COPYRIGHT STMicroelectronics *****END OF FILE****/
